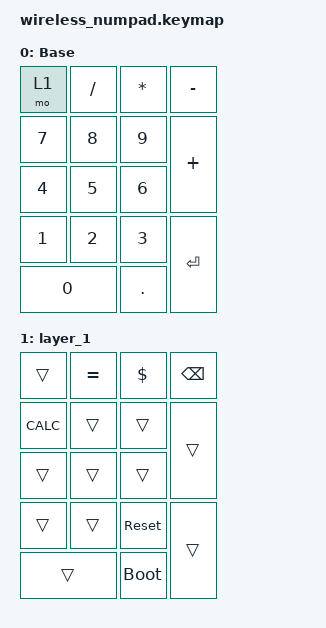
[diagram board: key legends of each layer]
#include <behaviors.dtsi>
#include <dt-bindings/zmk/keys.h>

/ {
    macros {
        calcs: calcs {
            compatible = "zmk,behavior-macro";
            #binding-cells = <0>;
            bindings = <&none>, <&macro_press>;

            label = "CALCS";
        };
    };

    keymap {
        compatible = "zmk,keymap";

        default_layer {
            display-name = "Base";
            bindings = <
&mo 1   &kp SLASH  &kp ASTERISK  &kp MINUS
&kp N7  &kp N8     &kp N9        &kp PLUS
&kp N4  &kp N5     &kp N6
&kp N1  &kp N2     &kp N3        &kp ENTER
&kp N0             &kp DOT
            >;
        };

        layer_1 {
            bindings = <
&trans      &kp EQUAL  &kp DOLLAR   &kp BACKSPACE
&kp K_CALC  &trans     &trans       &trans
&trans      &trans     &trans
&trans      &trans     &sys_reset   &trans
&trans                 &bootloader
            >;
        };
    };
};
